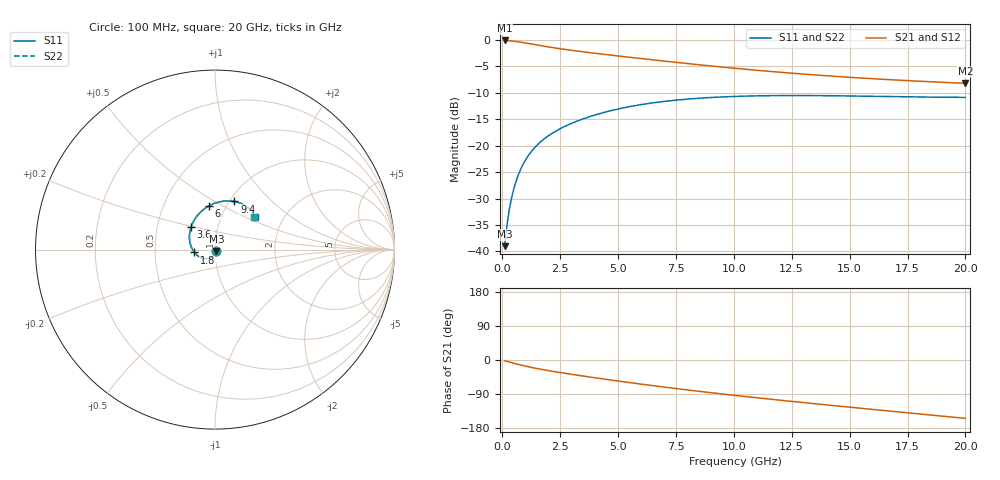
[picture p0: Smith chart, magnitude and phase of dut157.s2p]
! Touchstone file exported from HFSS 2023.1.0
!  File:  D:/Users/fzz/RDL_TSV/temp_RDL_TSV_157_1778753496.aedt
!  Generated:  6:20:31 %x4E0B%x5348  5%x6708 14, 2026
!  Design:  RDL_TSV
!  Project:  temp_RDL_TSV_157_1778753496
!  Setup:  Setup1
!  Solution:  Sweep
! Variables:
!  dtsv = 17.4um
!  hbump = 3um
!  htsv = 81.76um
!  ldown = 324.96um
!  lrdl = 201.25um
!  p = 40
!  p1 = 59.65um
!  rhole = 10um
!  subl = 1779.88um
!  t = 450um
!  tdown = 3.66um
!  trdl = 4.43um
!  viad = 10um
!  wdown = 22.48um
!  wrdl = 18.58um
!  xbump = 18um
# GHz S MA R 50.000000
! Terminal data exported
! Port[1] = TM1_1_T1
! Port[2] = TM1_4_T1
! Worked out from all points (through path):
!   200 points, 100 MHz to 20 GHz, reference 50 ohm
!   highest |S21| = -0.08 dB at 100 MHz (marker M1); lowest = -8.2 dB at 20 GHz (marker M2)
!   group delay of S21, straight-line fit = 19.9 ps
!   lowest |S11| = -39.0 dB at 100 MHz (marker M3), VSWR 1.02, Z = 50.8 - j0.845 ohm
!   |S11| at or under -10 dB: start of sweep to end of sweep
!   |S22| runs from -39.0 to -10.5 dB; largest |S21 - S12| = 2.2e-14
!   S11 on the Smith chart (normalised r, x): 100 MHz: 1.02, -0.02; 1.8 GHz: 0.79, -0.03; 3.6 GHz: 0.74, +0.19; 6 GHz: 0.83, +0.43; 9.4 GHz: 1.06, +0.62; 20 GHz: 1.43, +0.57
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0.1  0.01122 -47.9  0.991 -1.8  0.991 -1.8  0.01122 -47.9
! Gamma 0 0 0 0
! Port Impedance 50 0 50 0
0.2  0.01752 -71.8  0.9887 -3.5  0.9887 -3.5  0.01752 -71.8
0.3  0.0247 -85.8  0.9851 -5.3  0.9851 -5.3  0.0247 -85.8
0.4  0.03208 -96.0  0.9805 -6.9  0.9805 -6.9  0.03208 -95.9
0.5  0.03943 -104.4  0.9751 -8.6  0.9751 -8.6  0.03943 -104.3
0.7  0.05364 -118.4  0.9621 -11.8  0.9621 -11.8  0.05364 -118.4
0.9  0.06696 -130.4  0.947 -14.7  0.947 -14.7  0.06696 -130.4
1.2  0.08512 -146.2  0.9225 -18.8  0.9225 -18.8  0.0851 -146.1
1.5  0.1013 -159.9  0.8978 -22.5  0.8978 -22.5  0.1012 -159.9
1.8  0.1157 -172.1  0.8745 -25.9  0.8745 -25.9  0.1156 -172.0
2.5  0.1449 164.3  0.8271 -33.1  0.8271 -33.1  0.1447 164.4
3.5  0.1799 138.9  0.773 -42.5  0.773 -42.5  0.1796 139.0
3.6  0.1831 136.8  0.7682 -43.4  0.7682 -43.4  0.1828 136.9
4.8  0.2176 114.9  0.7151 -53.8  0.7151 -53.8  0.217 115.0
6  0.2451 98.4  0.6679 -63.7  0.6679 -63.7  0.2444 98.5
6.8  0.2596 89.5  0.6388 -70.0  0.6388 -70.0  0.2588 89.6
9.4  0.289 68.1  0.5575 -89.0  0.5575 -89.0  0.288 68.1
10.1  0.293 63.8  0.539 -93.8  0.539 -93.8  0.292 63.8
11.7  0.298 55.7  0.5018 -104.2  0.5018 -104.2  0.2968 55.7
13.4  0.2983 49.3  0.4692 -114.8  0.4692 -114.8  0.2971 49.4
16.7  0.292 42.0  0.422 -134.6  0.422 -134.6  0.2908 42.1
20  0.287 39.7  0.3898 -154.0  0.3898 -154.0  0.2858 39.7
